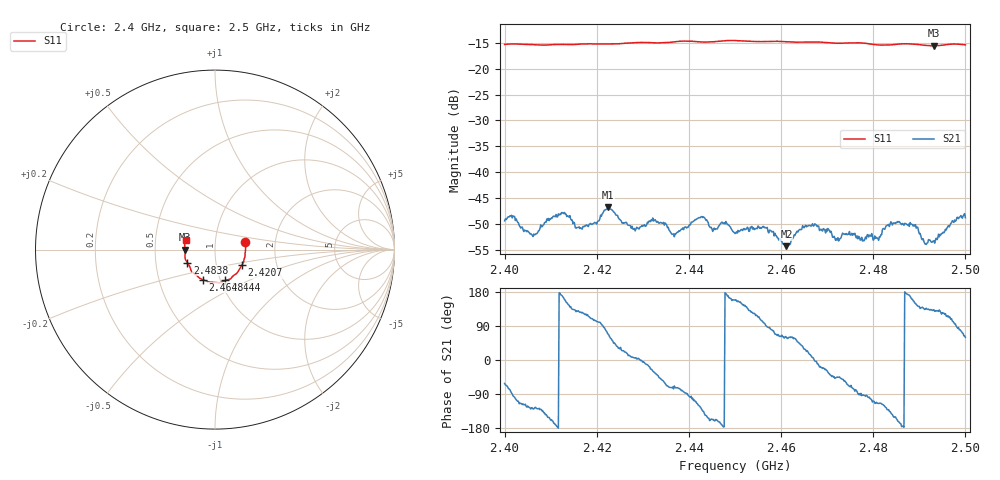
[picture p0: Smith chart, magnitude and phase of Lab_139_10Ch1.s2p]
# Hz S RI R 50
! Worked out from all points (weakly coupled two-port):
!   601 points, 2.4 GHz to 2.5 GHz, reference 50 ohm
!   highest |S21| = -46.79 dB at 2.4225 GHz (marker M1); lowest = -54.3 dB at 2.4612 GHz (marker M2)
!   lowest |S11| = -15.6 dB at 2.4932 GHz (marker M3), VSWR 1.40, Z = 35.7 - j0.0719 ohm
!   |S11| at or under -10 dB: start of sweep to end of sweep
!   S12 and S22 are empty: the file has one direction only
!   S11 on the Smith chart (normalised r, x): 2.4 GHz: 1.39, +0.12; 2.4207 GHz: 1.33, -0.24; 2.444 GHz: 1.06, -0.37; 2.4648 GHz: 0.83, -0.29; 2.4838 GHz: 0.73, -0.11; 2.5 GHz: 0.72, +0.08
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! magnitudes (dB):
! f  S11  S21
! 2.4 GHz  -15.3  -49.4
! 2.4065 GHz  -15.4  -52.1
! 2.4128 GHz  -15.3  -48.0
! 2.4167 GHz  -15.2  -50.8
! 2.4207 GHz  -15.2  -49.0
! 2.4225 GHz  -15.2  -46.8
! 2.428 GHz  -15.0  -51.0
! 2.4333 GHz  -15.0  -49.6
! 2.4367 GHz  -14.8  -51.9
! 2.444 GHz  -14.8  -49.4
! 2.45 GHz  -14.6  -51.8
! 2.4565 GHz  -14.8  -50.6
! 2.4612 GHz  -14.8  -54.3
! 2.4648 GHz  -14.9  -50.7
! 2.4667 GHz  -14.8  -50.2
! 2.4777 GHz  -15.0  -53.3
! 2.4833 GHz  -15.4  -50.1
! 2.4838 GHz  -15.4  -49.5
! 2.4887 GHz  -15.2  -50.4
! 2.491 GHz  -15.5  -53.4
! 2.4932 GHz  -15.6  -53.2
! 2.5 GHz  -15.4  -48.8
